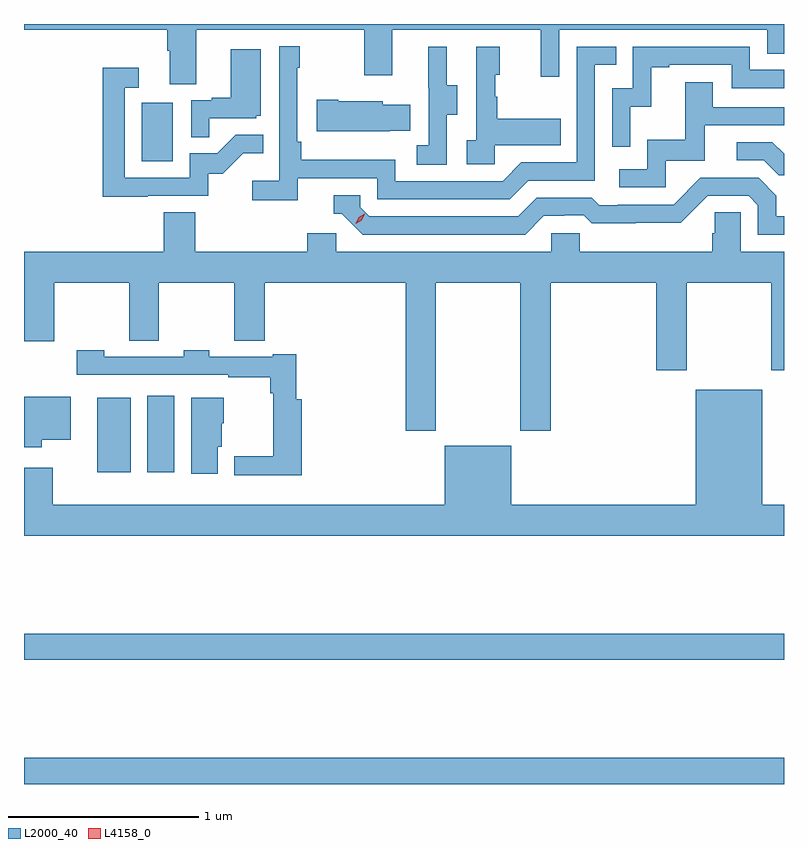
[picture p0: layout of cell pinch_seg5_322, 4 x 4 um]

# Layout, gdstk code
import gdstk
lib = gdstk.Library(unit=1e-6, precision=1e-09)
def R(c, l, rs):  # rectangles x0, y0, x1, y1
    for r in rs: c.add(gdstk.rectangle(r[:2], r[2:], *l))
def P(c, l, *ps):  # polygons
    for p in ps: c.add(gdstk.Polygon(p, *l))
L2000_40 = (2000, 40)
L4158_0 = (4158, 0)

pinch_seg5_322 = lib.new_cell('pinch_seg5_322')
R(pinch_seg5_322, L2000_40, [(922.609,879.43,926.609,879.568), (922.609,880.084,926.609,880.22), (922.994,881.072,923.17,881.464), (923.258,881.072,923.401,881.473), (923.228,882.708,923.392,883.015)])
P(pinch_seg5_322, L2000_40, [(923.515,883.4),(924.4,883.4),(924.4,883.161),(924.547,883.161),(924.547,883.4),(925.328,883.4),(925.328,883.152),(925.425,883.152),(925.425,883.4),(926.52,883.4),(926.52,883.273),(926.609,883.273),(926.609,883.43),(922.609,883.43),(922.609,883.4),(923.363,883.4),(923.363,883.288),(923.375,883.288),(923.375,883.114),(923.515,883.114)],
  [(924.05,882.618),(924.468,882.618),(924.468,882.507),(925.165,882.507),(925.264,882.606),(925.614,882.606),(925.614,883.215),(925.727,883.215),(925.727,883.311),(925.518,883.311),(925.518,882.702),(925.227,882.702),(925.128,882.603),(924.564,882.603),(924.564,882.715),(924.068,882.715),(924.068,882.811),(924.048,882.811),(924.048,883.199),(924.061,883.199),(924.061,883.312),(923.952,883.312),(923.952,882.604),(923.811,882.604),(923.811,882.502),(924.05,882.502)],
  [(925.8,882.995),(925.91,882.995),(925.91,883.203),(926.005,883.203),(926.005,883.215),(926.334,883.215),(926.334,883.092),(926.609,883.092),(926.609,883.188),(926.43,883.188),(926.43,883.311),(925.812,883.311),(925.812,883.092),(925.704,883.092),(925.704,882.783),(925.8,882.783)],
  [(924.834,882.952),(924.889,882.952),(924.889,883.107),(924.835,883.107),(924.835,883.309),(924.737,883.309),(924.737,883.095),(924.738,883.095),(924.738,882.791),(924.675,882.791),(924.675,882.688),(924.834,882.688)],
  [(925.086,882.791),(925.433,882.791),(925.433,882.931),(925.099,882.931),(925.099,883.046),(925.089,883.046),(925.089,883.164),(925.114,883.164),(925.114,883.309),(924.99,883.309),(924.99,882.818),(924.939,882.818),(924.939,882.693),(925.086,882.693)],
  [(923.585,882.933),(923.832,882.933),(923.832,882.948),(923.854,882.948),(923.854,883.297),(923.696,883.297),(923.696,883.042),(923.597,883.042),(923.597,883.029),(923.49,883.029),(923.49,882.835),(923.585,882.835)],
  [(923.261,882.525),(923.58,882.525),(923.58,882.642),(923.656,882.642),(923.763,882.749),(923.867,882.749),(923.867,882.848),(923.723,882.848),(923.625,882.75),(923.481,882.75),(923.481,882.621),(923.139,882.621),(923.139,883.095),(923.212,883.095),(923.212,883.201),(923.023,883.201),(923.023,882.52),(923.261,882.52)],
  [(925.986,882.711),(926.191,882.711),(926.191,882.897),(926.609,882.897),(926.609,882.993),(926.233,882.993),(926.233,883.123),(926.089,883.123),(926.089,882.82),(925.89,882.82),(925.89,882.666),(925.743,882.666),(925.743,882.57),(925.986,882.57)],
  [(924.533,882.869),(924.641,882.869),(924.641,883.006),(924.498,883.006),(924.498,883.024),(924.262,883.024),(924.262,883.032),(924.15,883.032),(924.15,882.866),(924.533,882.866)],
  [(926.609,882.746),(926.548,882.807),(926.361,882.807),(926.361,882.714),(926.502,882.714),(926.582,882.634),(926.609,882.634)],
  [(925.345,882.42),(925.452,882.42),(925.452,882.423),(925.555,882.423),(925.597,882.381),(925.83,882.381),(925.83,882.383),(926.066,882.383),(926.208,882.525),(926.424,882.525),(926.472,882.477),(926.472,882.321),(926.609,882.321),(926.609,882.417),(926.569,882.417),(926.569,882.527),(926.475,882.621),(926.169,882.621),(926.028,882.48),(925.735,882.48),(925.735,882.477),(925.636,882.477),(925.597,882.516),(925.308,882.516),(925.209,882.417),(924.426,882.417),(924.378,882.465),(924.378,882.528),(924.239,882.528),(924.239,882.432),(924.282,882.432),(924.393,882.321),(925.246,882.321)],
  [(924.777,882.068),(925.222,882.068),(925.222,881.289),(925.382,881.289),(925.382,882.068),(925.937,882.068),(925.937,881.607),(926.097,881.607),(926.097,882.068),(926.542,882.068),(926.542,881.607),(926.609,881.607),(926.609,882.232),(926.382,882.232),(926.382,882.44),(926.245,882.44),(926.245,882.33),(926.231,882.33),(926.231,882.232),(925.533,882.232),(925.533,882.33),(925.383,882.33),(925.383,882.232),(924.252,882.232),(924.252,882.33),(924.101,882.33),(924.101,882.232),(923.51,882.232),(923.51,882.44),(923.345,882.44),(923.345,882.232),(922.609,882.232),(922.609,881.76),(922.767,881.76),(922.767,882.068),(923.164,882.068),(923.164,881.764),(923.318,881.764),(923.318,882.068),(923.716,882.068),(923.716,881.764),(923.876,881.764),(923.876,882.068),(924.617,882.068),(924.617,881.289),(924.777,881.289)],
  [(924.071,881.455),(924.041,881.455),(924.041,881.692),(923.918,881.692),(923.918,881.679),(923.583,881.679),(923.583,881.712),(923.451,881.712),(923.451,881.679),(923.031,881.679),(923.031,881.712),(922.887,881.712),(922.887,881.583),(923.683,881.583),(923.683,881.571),(923.905,881.571),(923.905,881.486),(923.92,881.486),(923.92,881.156),(923.715,881.156),(923.715,881.054),(924.071,881.054)],
  [(926.609,880.9),(926.494,880.9),(926.494,881.506),(926.144,881.506),(926.144,880.9),(925.174,880.9),(925.174,881.209),(924.824,881.209),(924.824,880.9),(922.759,880.9),(922.759,881.095),(922.609,881.095),(922.609,880.736),(926.609,880.736)],
  [(922.702,881.243),(922.855,881.243),(922.855,881.467),(922.609,881.467),(922.609,881.202),(922.702,881.202)],
  [(923.629,881.205),(923.65,881.205),(923.65,881.328),(923.659,881.328),(923.659,881.464),(923.489,881.464),(923.489,881.064),(923.629,881.064)])
P(pinch_seg5_322, L4158_0, [(924.354,882.379),(924.354,882.379),(924.371,882.412),(924.402,882.431),(924.402,882.431),(924.402,882.431),(924.386,882.398),(924.355,882.379)])

lib.write_gds('pinch_seg5_322.gds')
